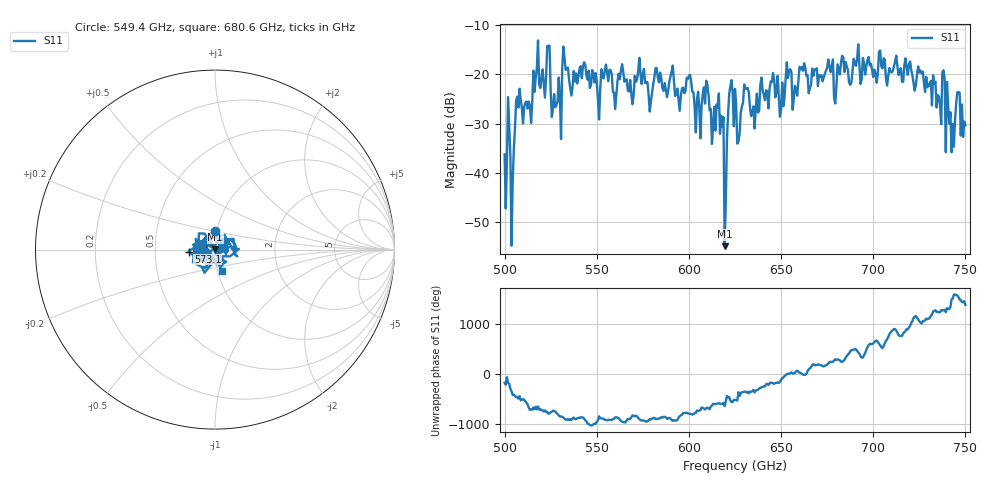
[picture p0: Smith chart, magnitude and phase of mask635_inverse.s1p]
!Created with skrf (http://scikit-rf.org).
# GHz S MA R 50.0
!freq magS11 angS11
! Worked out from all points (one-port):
!   401 points, 500 GHz to 750 GHz, reference 50 ohm
!   lowest |S11| = -54.8 dB at 619.4 GHz (marker M1), VSWR 1.00, Z = 50 + j0.179 ohm
!   |S11| at or under -10 dB: start of sweep to end of sweep
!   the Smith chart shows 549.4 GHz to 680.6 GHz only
!   S11 on the Smith chart (normalised r, x): 549.4 GHz: 0.98, +0.20; 573.1 GHz: 0.74, -0.02; 680.6 GHz: 1.05, -0.26
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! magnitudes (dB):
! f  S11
! 500 GHz  -36.2
! 504.4 GHz  -41.8
! 507.5 GHz  -26.7
! 513.8 GHz  -26.4
! 516.9 GHz  -20.7
! 523.8 GHz  -14.2
! 526.9 GHz  -24.0
! 531.2 GHz  -18.7
! 533.1 GHz  -19.1
! 549.4 GHz  -19.7
! 562.5 GHz  -21.0
! 573.1 GHz  -16.6
! 593.8 GHz  -22.9
! 600 GHz  -20.3
! 605 GHz  -23.5
! 609.4 GHz  -21.3
! 613.1 GHz  -30.6
! 617.5 GHz  -28.3
! 619.4 GHz  -54.8
! 620.6 GHz  -33.3
! 622.5 GHz  -22.3
! 625 GHz  -22.9
! 656.2 GHz  -27.2
! 680.6 GHz  -18.0
! 687.5 GHz  -22.1
! 718.8 GHz  -20.1
! 742.5 GHz  -35.8
! 750 GHz  -30.3
